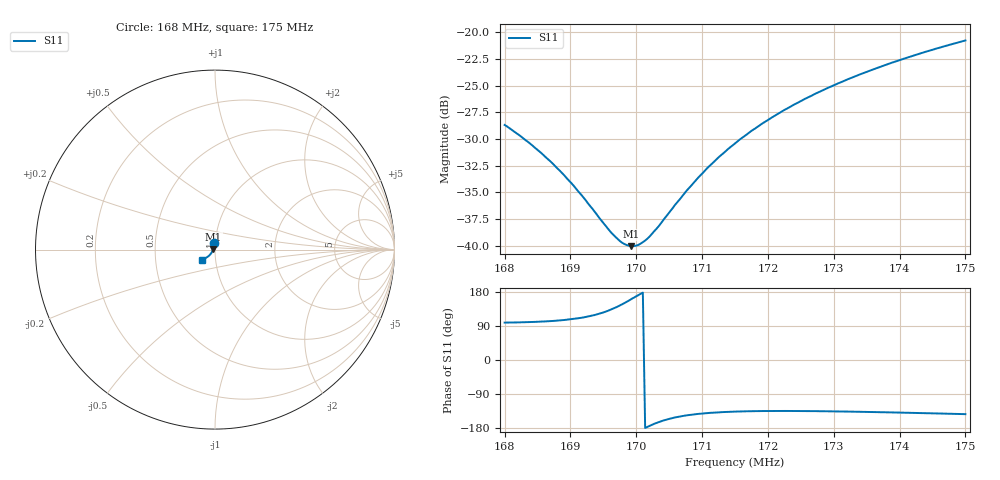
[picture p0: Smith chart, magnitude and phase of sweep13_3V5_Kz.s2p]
!Agilent Technologies,E8364B,US42250162,A.07.50.67
!Agilent E8364B: A.07.50.67
!Date: Friday, June 23, 2023 16:32:45
!Correction: S11(Off)
!S21(Off)
!S12(Off)
!S22(Off)
!S2P File: Measurements: S11, S21, S12, S22:
# Hz S  RI  R 50
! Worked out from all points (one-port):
!   201 points, 168 MHz to 175 MHz, reference 50 ohm
!   lowest |S11| = -40.0 dB at 169.93 MHz (marker M1), VSWR 1.02, Z = 49.1 + j0.321 ohm
!   |S11| at or under -10 dB: start of sweep to end of sweep
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1.68e8  -0.00555 0.0364  7.07e-11 7.07e-11  7.07e-11 7.07e-11  7.07e-11 7.07e-11
1.68385e8  -0.00527 0.0297  7.07e-11 7.07e-11  7.07e-11 7.07e-11  7.07e-11 7.07e-11
1.687e8  -0.00544 0.0242  7.07e-11 7.07e-11  7.07e-11 7.07e-11  7.07e-11 7.07e-11
1.6891e8  -0.00574 0.0205  7.07e-11 7.07e-11  7.07e-11 7.07e-11  7.07e-11 7.07e-11
1.6919e8  -0.00639 0.0157  7.07e-11 7.07e-11  7.07e-11 7.07e-11  7.07e-11 7.07e-11
1.69645e8  -0.00804 0.00797  7.07e-11 7.07e-11  7.07e-11 7.07e-11  7.07e-11 7.07e-11
1.69785e8  -0.00869 0.0056  7.07e-11 7.07e-11  7.07e-11 7.07e-11  7.07e-11 7.07e-11
1.69925e8  -0.00941 0.00327  7.07e-11 7.07e-11  7.07e-11 7.07e-11  7.07e-11 7.07e-11
1.7003e8  -0.00996 0.00162  7.07e-11 7.07e-11  7.07e-11 7.07e-11  7.07e-11 7.07e-11
1.70135e8  -0.0106 -0.000123  7.07e-11 7.07e-11  7.07e-11 7.07e-11  7.07e-11 7.07e-11
1.70345e8  -0.0119 -0.00347  7.07e-11 7.07e-11  7.07e-11 7.07e-11  7.07e-11 7.07e-11
1.7059e8  -0.0137 -0.00742  7.07e-11 7.07e-11  7.07e-11 7.07e-11  7.07e-11 7.07e-11
1.70905e8  -0.0162 -0.0123  7.07e-11 7.07e-11  7.07e-11 7.07e-11  7.07e-11 7.07e-11
1.71255e8  -0.0194 -0.0175  7.07e-11 7.07e-11  7.07e-11 7.07e-11  7.07e-11 7.07e-11
1.715e8  -0.0218 -0.0209  7.07e-11 7.07e-11  7.07e-11 7.07e-11  7.07e-11 7.07e-11
1.71745e8  -0.0244 -0.0243  7.07e-11 7.07e-11  7.07e-11 7.07e-11  7.07e-11 7.07e-11
1.7206e8  -0.028 -0.0285  7.07e-11 7.07e-11  7.07e-11 7.07e-11  7.07e-11 7.07e-11
1.7269e8  -0.036 -0.0362  7.07e-11 7.07e-11  7.07e-11 7.07e-11  7.07e-11 7.07e-11
1.73215e8  -0.0435 -0.0419  7.07e-11 7.07e-11  7.07e-11 7.07e-11  7.07e-11 7.07e-11
1.73845e8  -0.0533 -0.0477  7.07e-11 7.07e-11  7.07e-11 7.07e-11  7.07e-11 7.07e-11
1.7437e8  -0.062 -0.0517  7.07e-11 7.07e-11  7.07e-11 7.07e-11  7.07e-11 7.07e-11
1.75e8  -0.0732 -0.0553  7.07e-11 7.07e-11  7.07e-11 7.07e-11  7.07e-11 7.07e-11
